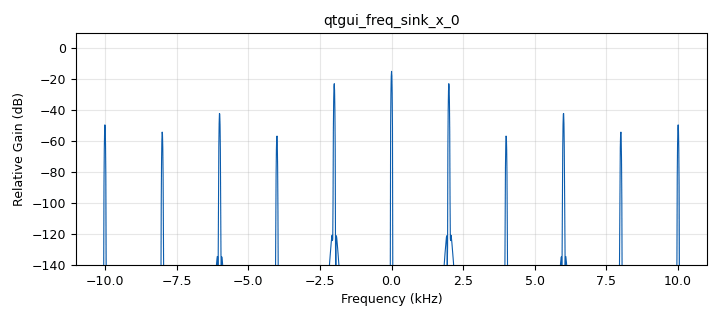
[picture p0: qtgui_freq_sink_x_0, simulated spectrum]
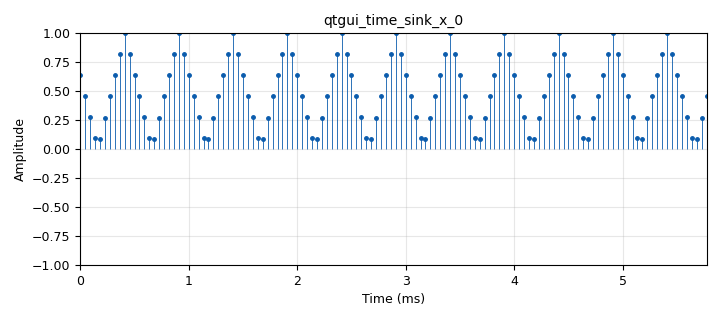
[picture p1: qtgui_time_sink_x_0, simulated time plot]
options:
  parameters:
    author: David_Astro_Daniel_Orduz_B1A_G1
    generate_options: qt_gui
    id: Lab_Comu_I
    output_language: python
    title: Primer Flujograma
  states: {}

blocks:
- name: freq
  id: variable_qtgui_range
  parameters:
    label: frequency
    start: '1000'
    step: '1000'
    stop: '40000'
    value: '2000'
  states: {}
- name: samp_rate
  id: variable_qtgui_range
  parameters:
    label: frecuencia de muestreo
    start: '1000'
    step: '1000'
    stop: '80000'
    value: '22000'
  states: {}
- name: analog_sig_source_x_0
  id: analog_sig_source_x
  parameters:
    amp: '1'
    freq: freq
    offset: '0'
    phase: '0'
    samp_rate: samp_rate
    type: float
    waveform: analog.GR_TRI_WAVE
  states: {}
- name: blocks_throttle2_0
  id: blocks_throttle2
  parameters:
    samples_per_second: samp_rate
    type: float
  states: {}
- name: qtgui_freq_sink_x_0
  id: qtgui_freq_sink_x
  parameters:
    bw: samp_rate
    fc: '0'
    fftsize: '2048'
    type: float
  states: {}
- name: qtgui_time_sink_x_0
  id: qtgui_time_sink_x
  parameters:
    size: '128'
    srate: samp_rate
    stemplot: 'True'
    type: float
  states: {}

connections:
- [analog_sig_source_x_0, '0', blocks_throttle2_0, '0']
- [blocks_throttle2_0, '0', qtgui_freq_sink_x_0, '0']
- [blocks_throttle2_0, '0', qtgui_time_sink_x_0, '0']

metadata:
  file_format: 1
  grc_version: 3.10.10.0
